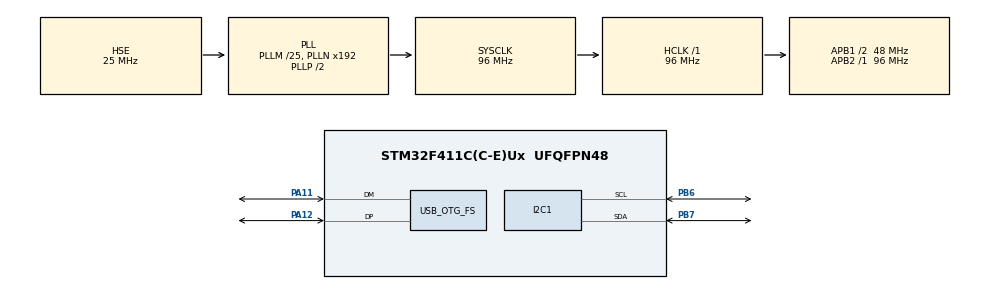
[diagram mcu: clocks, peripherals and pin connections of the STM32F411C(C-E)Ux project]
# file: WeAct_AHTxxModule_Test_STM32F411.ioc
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Mcu.Family=STM32F4
Mcu.Name=STM32F411C(C-E)Ux
Mcu.Package=UFQFPN48
NVIC.OTG_FS_IRQn=true\:0\:0\:false\:false\:true\:false\:true\:true
NVIC.PriorityGroup=NVIC_PRIORITYGROUP_4
PA11.Mode=Device_Only
PA11.Signal=USB_OTG_FS_DM
PA12.Mode=Device_Only
PA12.Signal=USB_OTG_FS_DP
PA13.Mode=Serial_Wire
PA13.Signal=SYS_JTMS-SWDIO
PA14.Mode=Serial_Wire
PA14.Signal=SYS_JTCK-SWCLK
PB6.Mode=I2C
PB6.Signal=I2C1_SCL
PB7.Mode=I2C
PB7.Signal=I2C1_SDA
PH0\ -\ OSC_IN.Mode=HSE-External-Oscillator
PH0\ -\ OSC_IN.Signal=RCC_OSC_IN
PH1\ -\ OSC_OUT.Mode=HSE-External-Oscillator
PH1\ -\ OSC_OUT.Signal=RCC_OSC_OUT
ProjectManager.HeapSize=0x400
ProjectManager.StackSize=0x400
ProjectManager.TargetToolchain=MDK-ARM V5.32
RCC.48MHZClocksFreq_Value=48000000
RCC.AHBFreq_Value=96000000
RCC.APB1CLKDivider=RCC_HCLK_DIV2
RCC.APB1Freq_Value=48000000
RCC.APB1TimFreq_Value=96000000
RCC.APB2Freq_Value=96000000
RCC.APB2TimFreq_Value=96000000
RCC.CortexFreq_Value=96000000
RCC.HCLKFreq_Value=96000000
RCC.HSE_VALUE=25000000
RCC.HSI_VALUE=16000000
RCC.LSE_VALUE=32768
RCC.PLLM=25
RCC.SYSCLKFreq_VALUE=96000000
RCC.SYSCLKSource=RCC_SYSCLKSOURCE_PLLCLK
RCC.VCOOutputFreq_Value=192000000
USB_DEVICE.CLASS_NAME_FS=CDC
USB_DEVICE.VirtualMode=Cdc
USB_DEVICE.VirtualModeFS=Cdc_FS
USB_OTG_FS.VirtualMode=Device_Only
VP_USB_DEVICE_VS_USB_DEVICE_CDC_FS.Mode=CDC_FS
board=custom

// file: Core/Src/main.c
/* USER CODE BEGIN Header */
/**
 ******************************************************************************
 * @file           : main.c
 * @brief          : Main program body
 ******************************************************************************
 * @attention
 *
 * Copyright (c) 2024 STMicroelectronics.
 * All rights reserved.
 *
 * This software is licensed under terms that can be found in the LICENSE file
 * in the root directory of this software component.
 * If no LICENSE file comes with this software, it is provided AS-IS.
 *
 ******************************************************************************
 */
/* USER CODE END Header */
#include "main.h"
#include "i2c.h"
#include "usb_device.h"
#include "gpio.h"

/* USER CODE BEGIN Includes */
#include "usbd_cdc_if.h"
#include "board.h"
#include "aht.h"
#include <string.h>
/* USER CODE END Includes */

void SystemClock_Config(void);

int main(void)
{
  /* USER CODE BEGIN 1 */
  uint32_t tick;
  uint32_t tick_send;
  uint8_t send_buf[50];
  uint8_t len;
  /* USER CODE END 1 */

  /* MCU Configuration--------------------------------------------------------*/

  /* Reset of all peripherals, Initializes the Flash interface and the Systick. */
  HAL_Init();

  /* Configure the system clock */
  SystemClock_Config();

  /* Initialize all configured peripherals */
  MX_GPIO_Init();
  MX_I2C1_Init();
  MX_USB_DEVICE_Init();
  /* USER CODE BEGIN 2 */
  board_button_init();
  board_led_init();

  aht_init();

  tick_send = HAL_GetTick();
  /* USER CODE END 2 */

  /* Infinite loop */
  while (1)
  {

    /* USER CODE BEGIN 3 */
    tick = HAL_GetTick();
    if (aht_run_loop(tick) == AHT_STEP_GET_RESULT)
      board_led_toggle();
    if (tick > tick_send)
    {
      tick_send = tick + 1000;
      len = sprintf((char *)&send_buf[0], "temperature: %3d.%02d'C,humidness: %2d.%02d%%\r\n", aht_get_temperature() / 100, aht_get_temperature() % 100, aht_get_humidness() / 100, aht_get_humidness() % 100);
      CDC_Transmit_FS(send_buf, len);
    }
  }
  /* USER CODE END 3 */
}

void SystemClock_Config(void)
{
  RCC_OscInitTypeDef RCC_OscInitStruct = {0};
  RCC_ClkInitTypeDef RCC_ClkInitStruct = {0};

  /** Configure the main internal regulator output voltage
   */
  __HAL_RCC_PWR_CLK_ENABLE();
  __HAL_PWR_VOLTAGESCALING_CONFIG(PWR_REGULATOR_VOLTAGE_SCALE1);

  /** Initializes the RCC Oscillators according to the specified parameters
   * in the RCC_OscInitTypeDef structure.
   */
  RCC_OscInitStruct.OscillatorType = RCC_OSCILLATORTYPE_HSE;
  RCC_OscInitStruct.HSEState = RCC_HSE_ON;
  RCC_OscInitStruct.PLL.PLLState = RCC_PLL_ON;
  RCC_OscInitStruct.PLL.PLLSource = RCC_PLLSOURCE_HSE;
  RCC_OscInitStruct.PLL.PLLM = 25;
  RCC_OscInitStruct.PLL.PLLN = 192;
  RCC_OscInitStruct.PLL.PLLP = RCC_PLLP_DIV2;
  RCC_OscInitStruct.PLL.PLLQ = 4;
  if (HAL_RCC_OscConfig(&RCC_OscInitStruct) != HAL_OK)
  {
    Error_Handler();
  }

  /** Initializes the CPU, AHB and APB buses clocks
   */
  RCC_ClkInitStruct.ClockType = RCC_CLOCKTYPE_HCLK | RCC_CLOCKTYPE_SYSCLK | RCC_CLOCKTYPE_PCLK1 | RCC_CLOCKTYPE_PCLK2;
  RCC_ClkInitStruct.SYSCLKSource = RCC_SYSCLKSOURCE_PLLCLK;
  RCC_ClkInitStruct.AHBCLKDivider = RCC_SYSCLK_DIV1;
  RCC_ClkInitStruct.APB1CLKDivider = RCC_HCLK_DIV2;
  RCC_ClkInitStruct.APB2CLKDivider = RCC_HCLK_DIV1;

  if (HAL_RCC_ClockConfig(&RCC_ClkInitStruct, FLASH_LATENCY_3) != HAL_OK)
  {
    Error_Handler();
  }
}

void Error_Handler(void)
{
  __disable_irq();
  while (1)
  {
  }
}
